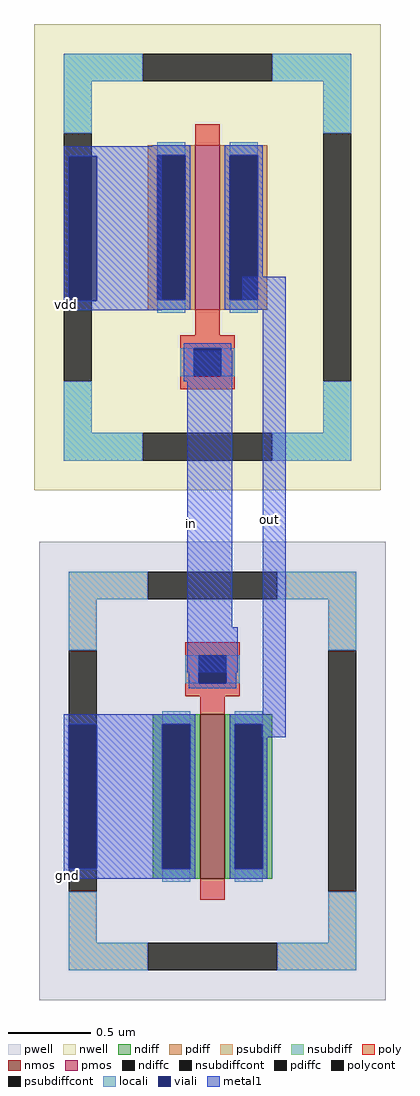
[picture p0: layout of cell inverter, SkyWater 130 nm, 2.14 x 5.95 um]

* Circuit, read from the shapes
.subckt inverter vdd in out gnd
XM1 out in gnd gnd sky130_fd_pr__nfet_01v8 w=1 l=0.15
XM2 out in vdd vdd sky130_fd_pr__pfet_01v8 w=1 l=0.15
.ends

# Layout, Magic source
magic
tech sky130A
magscale 1 2
<< pwell >>
rect 383 519 449 556
<< viali >>
rect 241 957 275 1133
rect 241 265 275 441
<< metal1 >>
rect 235 1133 354 1145
rect 235 957 241 1133
rect 275 957 354 1133
rect 452 958 505 986
rect 235 945 354 957
rect 385 559 440 896
rect 385 504 447 559
rect 477 453 505 958
rect 235 441 352 453
rect 235 265 241 441
rect 275 265 352 441
rect 476 425 505 453
rect 235 253 352 265
use sky130_fd_pr__nfet_01v8_64Z3AY  sky130_fd_pr__nfet_01v8_64Z3AY_0
transform 1 0 416 0 1 384
box -211 -279 211 279
use sky130_fd_pr__pfet_01v8_LGS3BL  XM2
transform 1 0 410 0 1 1010
box -211 -284 211 284
<< labels >>
flabel metal1 238 952 238 952 0 FreeSans 480 0 0 0 vdd
port 0 nsew
flabel metal1 391 685 391 685 0 FreeSans 480 0 0 0 in
port 1 nsew
flabel metal1 486 690 486 690 0 FreeSans 480 0 0 0 out
port 2 nsew
flabel metal1 239 257 239 257 0 FreeSans 480 0 0 0 gnd
port 3 nsew
<< end >>

# cell sky130_fd_pr__nfet_01v8_64Z3AY: kit device sky130_fd_pr__nfet_01v8, w 1.0 l 0.15 m 1 nf 1 diffcov 100 polycov 100 guard 1 glc 1 grc 1 gtc 1 gbc 1 tbcov 100 rlcov 100 topc 1 botc 0 poverlap 0 doverlap 1 lmin 0.15 wmin 0.42 compatible {sky130_fd_pr__nfet_01v8 sky130_fd_pr__nfet_01v8_lvt sky130_fd_bs_flash__special_sonosfet_star sky130_fd_pr__nfet_g5v0d10v5 sky130_fd_pr__nfet_05v0_nvt sky130_fd_pr__nfet_03v3_nvt} full_metal 1 viasrc 100 viadrn 100 viagate 100 viagb 0 viagr 0 viagl 0 viagt 0

# cell sky130_fd_pr__pfet_01v8_LGS3BL: kit device sky130_fd_pr__pfet_01v8, w 1.0 l 0.15 m 1 nf 1 diffcov 100 polycov 100 guard 1 glc 1 grc 1 gtc 1 gbc 1 tbcov 100 rlcov 100 topc 0 botc 1 poverlap 0 doverlap 1 lmin 0.15 wmin 0.42 compatible {sky130_fd_pr__pfet_01v8 sky130_fd_pr__pfet_01v8_lvt sky130_fd_pr__pfet_01v8_hvt sky130_fd_pr__pfet_g5v0d10v5} full_metal 1 viasrc 100 viadrn 100 viagate 100 viagb 0 viagr 0 viagl 0 viagt 0
